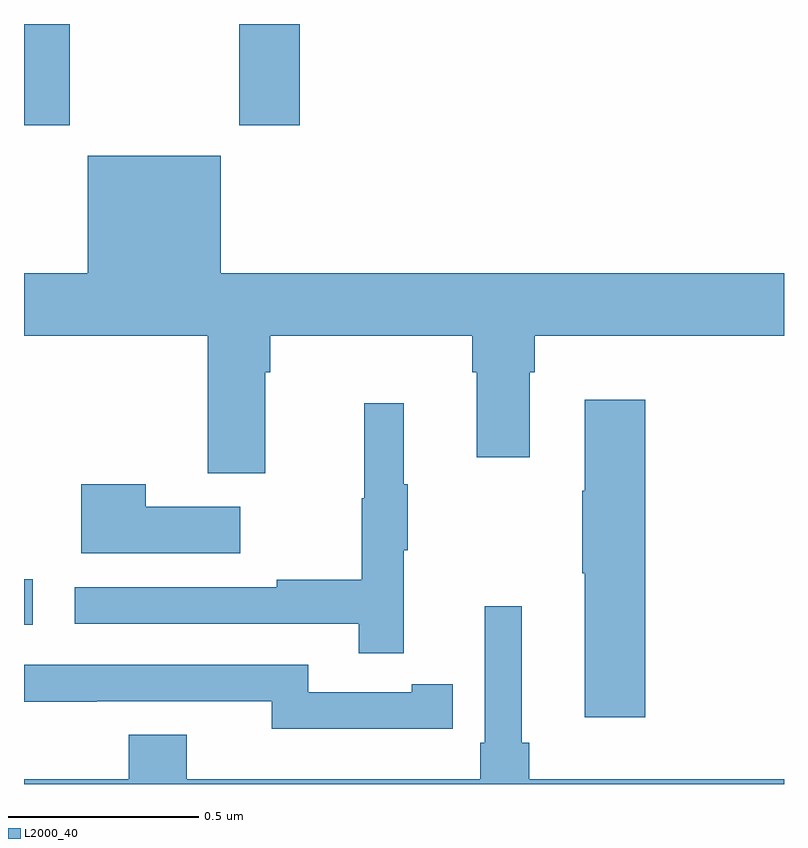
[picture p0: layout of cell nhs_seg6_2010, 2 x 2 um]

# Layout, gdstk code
import gdstk
lib = gdstk.Library(unit=1e-6, precision=1e-09)
def R(c, l, rs):  # rectangles x0, y0, x1, y1
    for r in rs: c.add(gdstk.rectangle(r[:2], r[2:], *l))
def P(c, l, *ps):  # polygons
    for p in ps: c.add(gdstk.Polygon(p, *l))
L2000_40 = (2000, 40)

nhs_seg6_2010 = lib.new_cell('nhs_seg6_2010')
R(nhs_seg6_2010, L2000_40, [(137,935.919,137.023,936.039), (137,937.233,137.121,937.5), (137.566,937.233,137.726,937.5)])
P(nhs_seg6_2010, L2000_40, [(137.635,936.584),(137.648,936.584),(137.648,936.68),(138.179,936.68),(138.179,936.584),(138.191,936.584),(138.191,936.36),(138.331,936.36),(138.331,936.584),(138.344,936.584),(138.344,936.68),(139,936.68),(139,936.844),(137.518,936.844),(137.518,937.153),(137.168,937.153),(137.168,936.844),(137,936.844),(137,936.68),(137.483,936.68),(137.483,936.318),(137.635,936.318)],
  [(138.635,936.511),(138.476,936.511),(138.476,936.272),(138.469,936.272),(138.469,936.055),(138.476,936.055),(138.476,935.676),(138.635,935.676)],
  [(137.999,936.115),(138.01,936.115),(138.01,936.289),(137.999,936.289),(137.999,936.502),(137.896,936.502),(137.896,936.252),(137.889,936.252),(137.889,936.038),(137.665,936.038),(137.665,936.018),(137.133,936.018),(137.133,935.922),(137.881,935.922),(137.881,935.844),(137.999,935.844)],
  [(137.569,936.229),(137.321,936.229),(137.321,936.289),(137.15,936.289),(137.15,936.107),(137.569,936.107)],
  [(139,935.512),(138.329,935.512),(138.329,935.608),(138.31,935.608),(138.31,935.968),(138.213,935.968),(138.213,935.608),(138.2,935.608),(138.2,935.512),(137.428,935.512),(137.428,935.629),(137.276,935.629),(137.276,935.512),(137,935.512),(137,935.5),(139,935.5)],
  [(138.02,935.646),(138.128,935.646),(138.128,935.762),(138.02,935.762),(138.02,935.742),(137.748,935.742),(137.748,935.814),(137,935.814),(137,935.717),(137.192,935.717),(137.192,935.718),(137.652,935.718),(137.652,935.645),(138.02,935.645)])

lib.write_gds('nhs_seg6_2010.gds')
